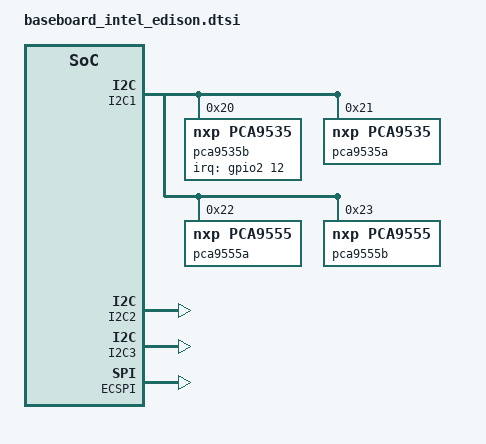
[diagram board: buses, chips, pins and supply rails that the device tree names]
/*
 * Copyright 2017 Technexion Ltd.
 *
 * Author: Alvin Chen <alvin.chen@technexion.com>
 *
 * This program is free software; you can redistribute it and/or modify
 * it under the terms of the GNU General Public License version 2 as
 * published by the Free Software Foundation.
 *
 */

#include <tnmacro.h>

/*
 * Difference between hobbit baseboard FL and GL version
 *
 *			  FL                GL
 * ethernet PHY       10_100m LAN        Giga LAN
 * ethernet Reset     PICO_PIN_P42       PICO_PIN_P37
 */

/ {
	gpio-edm {
		compatible = "gpio-edm";
#ifdef PICO_EXT_GPIO_IOMUX_EDISON
		pinctrl-names = "default";
		pinctrl-0 = <PICO_EXT_GPIO_IOMUX_EDISON>;
#endif
		gpio_p24 {
			label = "GPIO_P44";
			gpios = <&GPIO_P24 1>;
			dir   = "out";
		};
		gpio_p25 {
			label = "GPIO_P165";
			gpios = <&GPIO_P25 1>;
			dir   = "out";
		};
		gpio_p26 {
			label = "GPIO_P45";
			gpios = <&GPIO_P26 1>;
			dir   = "out";
		};
		gpio_p28 {
			label = "GPIO_P46";
			gpios = <&GPIO_P28 1>;
			dir   = "out";
		};
		gpio_p30 {
			label = "GPIO_P47";
			gpios = <&GPIO_P30 1>;
			dir   = "out";
		};
		gpio_p48 {
			label = "GPIO_P14";
			gpios = <&GPIO_P48 1>;
			dir   = "out";
		};
	};
};

&I2C1 {
	status = "okay";
/*
	pca9535b: pca9535b@20 {
		compatible = "nxp,pca9535";
		pinctrl-names = "default";
		pinctrl-0 = <PCA9535_INTERRUPT>;
		interrupt-parent = <&GPIO_BANK(PCA9535_INT_GPIO)>;
		interrupts = <GPIO_NO(PCA9535_INT_GPIO) IRQ_TYPE_EDGE_FALLING>;
		gpio-controller;
		#gpio-cells = <2>;
		interrupt-controller;
		#interrupt-cells = <2>;
		reg = <0x20>;
	};
*/

	pca9535b: pca9535b@20 {
		compatible = "nxp,pca9535";
		pinctrl-names = "default";
		pinctrl-0 = <&pinctrl_pca9535_interrupt>;
		interrupt-parent = <&gpio2>;
		interrupts = <12 2>;
		gpio-controller;
		#gpio-cells = <2>;
		interrupt-controller;
		#interrupt-cells = <2>;
		reg = <0x20>;
	};
	pca9535a: pca9535a@21 {
		compatible = "nxp,pca9535";
		gpio-controller;
		#gpio-cells = <2>;
		#interrupt-cells = <2>;
		reg = <0x21>;
	};

	pca9555a: pca9555a@22 {
		compatible = "nxp,pca9555";
		gpio-controller;
		#gpio-cells = <2>;
		#interrupt-cells = <2>;
		reg = <0x22>;
	};

	pca9555b: pca9555b@23 {
		compatible = "nxp,pca9555";
		gpio-controller;
		#gpio-cells = <2>;
		#interrupt-cells = <2>;
		reg = <0x23>;
	};
};

&I2C2 {
	status = "okay";
};

&I2C3 {
	status = "okay";
};

&ECSPI {
	status = "okay";
};

